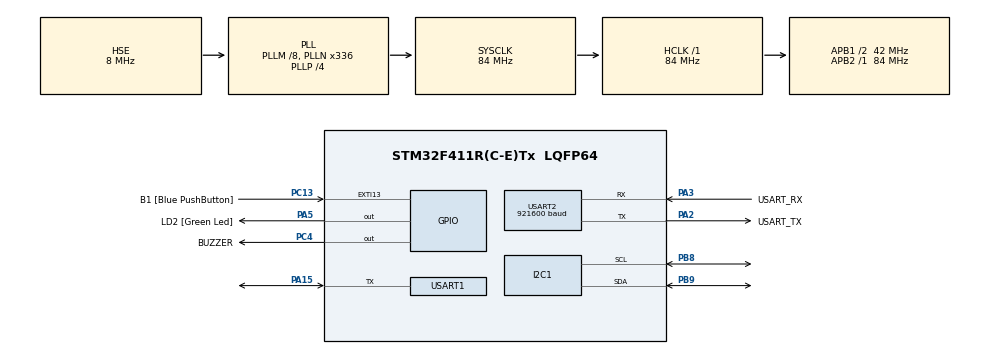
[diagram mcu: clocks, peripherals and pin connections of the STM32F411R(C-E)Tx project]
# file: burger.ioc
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Dma.Request0=USART2_RX
Dma.Request1=USART2_TX
Dma.USART2_RX.0.Direction=DMA_PERIPH_TO_MEMORY
Dma.USART2_RX.0.FIFOMode=DMA_FIFOMODE_DISABLE
Dma.USART2_RX.0.Instance=DMA1_Stream5
Dma.USART2_RX.0.MemDataAlignment=DMA_MDATAALIGN_BYTE
Dma.USART2_RX.0.MemInc=DMA_MINC_ENABLE
Dma.USART2_RX.0.Mode=DMA_CIRCULAR
Dma.USART2_RX.0.PeriphDataAlignment=DMA_PDATAALIGN_BYTE
Dma.USART2_RX.0.PeriphInc=DMA_PINC_DISABLE
Dma.USART2_RX.0.Priority=DMA_PRIORITY_VERY_HIGH
Dma.USART2_TX.1.Direction=DMA_MEMORY_TO_PERIPH
Dma.USART2_TX.1.FIFOMode=DMA_FIFOMODE_DISABLE
Dma.USART2_TX.1.Instance=DMA1_Stream6
Dma.USART2_TX.1.MemDataAlignment=DMA_MDATAALIGN_BYTE
Dma.USART2_TX.1.MemInc=DMA_MINC_ENABLE
Dma.USART2_TX.1.Mode=DMA_NORMAL
Dma.USART2_TX.1.PeriphDataAlignment=DMA_PDATAALIGN_BYTE
Dma.USART2_TX.1.PeriphInc=DMA_PINC_DISABLE
Dma.USART2_TX.1.Priority=DMA_PRIORITY_VERY_HIGH
FREERTOS.Tasks01=defaultTask,16,3000,StartDefaultTask,Default,NULL,Static,defaultTaskBuffer,defaultTaskControlBlock
I2C1.OwnAddress=0
Mcu.Family=STM32F4
Mcu.Name=STM32F411R(C-E)Tx
Mcu.Package=LQFP64
NVIC.DMA1_Stream5_IRQn=true\:5\:0\:false\:false\:true\:true\:false\:true\:true
NVIC.DMA1_Stream6_IRQn=true\:5\:0\:false\:false\:true\:true\:false\:true\:true
NVIC.PriorityGroup=NVIC_PRIORITYGROUP_4
NVIC.TIM1_UP_TIM10_IRQn=true\:15\:0\:false\:false\:true\:false\:false\:true\:true
NVIC.TimeBase=TIM1_UP_TIM10_IRQn
NVIC.TimeBaseIP=TIM1
NVIC.USART2_IRQn=true\:5\:0\:false\:false\:true\:true\:true\:true\:true
PA13.GPIO_Label=TMS
PA13.Mode=Serial_Wire
PA13.Signal=SYS_JTMS-SWDIO
PA14.GPIO_Label=TCK
PA14.Mode=Serial_Wire
PA14.Signal=SYS_JTCK-SWCLK
PA15.Mode=Half_duplex(single_wire_mode)
PA15.Signal=USART1_TX
PA2.GPIO_Label=USART_TX
PA2.Mode=Asynchronous
PA2.Signal=USART2_TX
PA3.GPIO_Label=USART_RX
PA3.Mode=Asynchronous
PA3.Signal=USART2_RX
PA5.GPIO_Label=LD2 [Green Led]
PA5.Signal=GPIO_Output
PB3.GPIO_Label=SWO
PB3.Signal=SYS_JTDO-SWO
PB8.Mode=I2C
PB8.Signal=I2C1_SCL
PB9.Mode=I2C
PB9.Signal=I2C1_SDA
PC13-ANTI_TAMP.GPIO_Label=B1 [Blue PushButton]
PC13-ANTI_TAMP.GPIO_ModeDefaultEXTI=GPIO_MODE_IT_FALLING
PC13-ANTI_TAMP.Signal=GPXTI13
PC14-OSC32_IN.Mode=LSE-External-Oscillator
PC14-OSC32_IN.Signal=RCC_OSC32_IN
PC15-OSC32_OUT.Mode=LSE-External-Oscillator
PC15-OSC32_OUT.Signal=RCC_OSC32_OUT
PC4.GPIO_Label=BUZZER
PC4.Signal=GPIO_Output
PH0\ -\ OSC_IN.Mode=HSE-External-Clock-Source
PH0\ -\ OSC_IN.Signal=RCC_OSC_IN
PH1\ -\ OSC_OUT.Mode=HSE-External-Clock-Source
PH1\ -\ OSC_OUT.Signal=RCC_OSC_OUT
ProjectManager.HeapSize=0x200
ProjectManager.StackSize=0x400
ProjectManager.TargetToolchain=CMake
RCC.48MHZClocksFreq_Value=84000000
RCC.AHBFreq_Value=84000000
RCC.APB1CLKDivider=RCC_HCLK_DIV2
RCC.APB1Freq_Value=42000000
RCC.APB1TimFreq_Value=84000000
RCC.APB2Freq_Value=84000000
RCC.APB2TimFreq_Value=84000000
RCC.CortexFreq_Value=84000000
RCC.FLatency-AdvancedSettings=FLASH_LATENCY_2
RCC.HCLKFreq_Value=84000000
RCC.HSE_VALUE=8000000
RCC.HSI_VALUE=16000000
RCC.PLLM=8
RCC.PLLN=336
RCC.PLLP=RCC_PLLP_DIV4
RCC.PLLSourceVirtual=RCC_PLLSOURCE_HSE
RCC.SYSCLKFreq_VALUE=84000000
RCC.SYSCLKSource=RCC_SYSCLKSOURCE_PLLCLK
RCC.VCOOutputFreq_Value=336000000
USART1.BaudRate=1000000
USART1.VirtualMode=VM_ASYNC
USART2.BaudRate=921600
USART2.VirtualMode=VM_ASYNC
VP_FREERTOS_VS_CMSIS_V2.Mode=CMSIS_V2
VP_SYS_VS_tim1.Mode=TIM1
board=NUCLEO-F411RE

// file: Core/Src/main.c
/* USER CODE BEGIN Header */
/**
  ******************************************************************************
  * @file           : main.c
  * @brief          : Main program body
  ******************************************************************************
  * @attention
  *
  * Copyright (c) 2026 STMicroelectronics.
  * All rights reserved.
  *
  * This software is licensed under terms that can be found in the LICENSE file
  * in the root directory of this software component.
  * If no LICENSE file comes with this software, it is provided AS-IS.
  *
  ******************************************************************************
  */
/* USER CODE END Header */
#include "main.h"
#include "cmsis_os.h"
#include "dma.h"
#include "i2c.h"
#include "usart.h"
#include "gpio.h"

void SystemClock_Config(void);
void MX_FREERTOS_Init(void);

int main(void)
{

  /* MCU Configuration--------------------------------------------------------*/

  /* Reset of all peripherals, Initializes the Flash interface and the Systick. */
  HAL_Init();

  /* Configure the system clock */
  SystemClock_Config();

  /* Initialize all configured peripherals */
  MX_GPIO_Init();
  MX_DMA_Init();
  MX_USART2_UART_Init();
  MX_USART1_UART_Init();
  MX_I2C1_Init();

  /* Init scheduler */
  osKernelInitialize();  /* Call init function for freertos objects (in cmsis_os2.c) */
  MX_FREERTOS_Init();

  /* Start scheduler */
  osKernelStart();

  /* We should never get here as control is now taken by the scheduler */

  /* Infinite loop */
  while (1)
  {

  }
}

void SystemClock_Config(void)
{
  RCC_OscInitTypeDef RCC_OscInitStruct = {0};
  RCC_ClkInitTypeDef RCC_ClkInitStruct = {0};

  /** Configure the main internal regulator output voltage
  */
  __HAL_RCC_PWR_CLK_ENABLE();
  __HAL_PWR_VOLTAGESCALING_CONFIG(PWR_REGULATOR_VOLTAGE_SCALE1);

  /** Initializes the RCC Oscillators according to the specified parameters
  * in the RCC_OscInitTypeDef structure.
  */
  RCC_OscInitStruct.OscillatorType = RCC_OSCILLATORTYPE_HSE;
  RCC_OscInitStruct.HSEState = RCC_HSE_BYPASS;
  RCC_OscInitStruct.PLL.PLLState = RCC_PLL_ON;
  RCC_OscInitStruct.PLL.PLLSource = RCC_PLLSOURCE_HSE;
  RCC_OscInitStruct.PLL.PLLM = 8;
  RCC_OscInitStruct.PLL.PLLN = 336;
  RCC_OscInitStruct.PLL.PLLP = RCC_PLLP_DIV4;
  RCC_OscInitStruct.PLL.PLLQ = 4;
  if (HAL_RCC_OscConfig(&RCC_OscInitStruct) != HAL_OK)
  {
    Error_Handler();
  }

  /** Initializes the CPU, AHB and APB buses clocks
  */
  RCC_ClkInitStruct.ClockType = RCC_CLOCKTYPE_HCLK|RCC_CLOCKTYPE_SYSCLK
                              |RCC_CLOCKTYPE_PCLK1|RCC_CLOCKTYPE_PCLK2;
  RCC_ClkInitStruct.SYSCLKSource = RCC_SYSCLKSOURCE_PLLCLK;
  RCC_ClkInitStruct.AHBCLKDivider = RCC_SYSCLK_DIV1;
  RCC_ClkInitStruct.APB1CLKDivider = RCC_HCLK_DIV2;
  RCC_ClkInitStruct.APB2CLKDivider = RCC_HCLK_DIV1;

  if (HAL_RCC_ClockConfig(&RCC_ClkInitStruct, FLASH_LATENCY_2) != HAL_OK)
  {
    Error_Handler();
  }
}

void HAL_TIM_PeriodElapsedCallback(TIM_HandleTypeDef *htim)
{
  if (htim->Instance == TIM1)
  {
    HAL_IncTick();
  }
}

void Error_Handler(void)
{
  __disable_irq();
  while (1)
  {
  }
}

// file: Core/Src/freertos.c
/* USER CODE BEGIN Header */
/**
  ******************************************************************************
  * File Name          : freertos.c
  * Description        : Code for freertos applications
  ******************************************************************************
  * @attention
  *
  * Copyright (c) 2026 STMicroelectronics.
  * All rights reserved.
  *
  * This software is licensed under terms that can be found in the LICENSE file
  * in the root directory of this software component.
  * If no LICENSE file comes with this software, it is provided AS-IS.
  *
  ******************************************************************************
  */
/* USER CODE END Header */

#include "FreeRTOS.h"
#include "task.h"
#include "main.h"
#include "cmsis_os.h"

/* USER CODE BEGIN Includes */
#include "rtos.h"
#include "app_tasks.h"
/* USER CODE END Includes */

typedef StaticTask_t osStaticThreadDef_t;

/* USER CODE BEGIN Variables */
static uint32_t driveTaskBuffer[1024];
static uint32_t imuTaskBuffer[1024];
static StaticTask_t driveTaskControlBlock, imuTaskControlBlock;
static const osThreadAttr_t driveTask_attributes = {
  .name = "driveTask",
  .cb_mem = &driveTaskControlBlock, .cb_size = sizeof(driveTaskControlBlock),
  .stack_mem = driveTaskBuffer, .stack_size = sizeof(driveTaskBuffer),
  .priority = osPriorityAboveNormal,
};
static const osThreadAttr_t imuTask_attributes = {
  .name = "imuTask",
  .cb_mem = &imuTaskControlBlock, .cb_size = sizeof(imuTaskControlBlock),
  .stack_mem = imuTaskBuffer, .stack_size = sizeof(imuTaskBuffer),
  .priority = osPriorityNormal,
};

/* USER CODE END Variables */
/* Definitions for defaultTask */
osThreadId_t defaultTaskHandle;
uint32_t defaultTaskBuffer[ 3000 ];
osStaticThreadDef_t defaultTaskControlBlock;
const osThreadAttr_t defaultTask_attributes = {
  .name = "defaultTask",
  .cb_mem = &defaultTaskControlBlock,
  .cb_size = sizeof(defaultTaskControlBlock),
  .stack_mem = &defaultTaskBuffer[0],
  .stack_size = sizeof(defaultTaskBuffer),
  .priority = (osPriority_t) osPriorityBelowNormal,
};

void StartDefaultTask(void *argument);

void MX_FREERTOS_Init(void); /* (MISRA C 2004 rule 8.1) */

void MX_FREERTOS_Init(void) {
  /* USER CODE BEGIN Init */
  AppTasks_Init();

  /* USER CODE END Init */

  /* Create the thread(s) */
  /* creation of defaultTask */
  defaultTaskHandle = osThreadNew(StartDefaultTask, NULL, &defaultTask_attributes);

  /* USER CODE BEGIN RTOS_THREADS */
  if (defaultTaskHandle == NULL ||
      osThreadNew(AppDriveTask, NULL, &driveTask_attributes) == NULL ||
      osThreadNew(AppImuTask, NULL, &imuTask_attributes) == NULL)
  {
    Error_Handler();
  }
  /* USER CODE END RTOS_THREADS */

}

void StartDefaultTask(void *argument)
{
  /* USER CODE BEGIN StartDefaultTask */
  AppRTOS_Start(argument);
  /* Infinite loop */
  for(;;)
  {
    osDelay(1);
  }
  /* USER CODE END StartDefaultTask */
}
